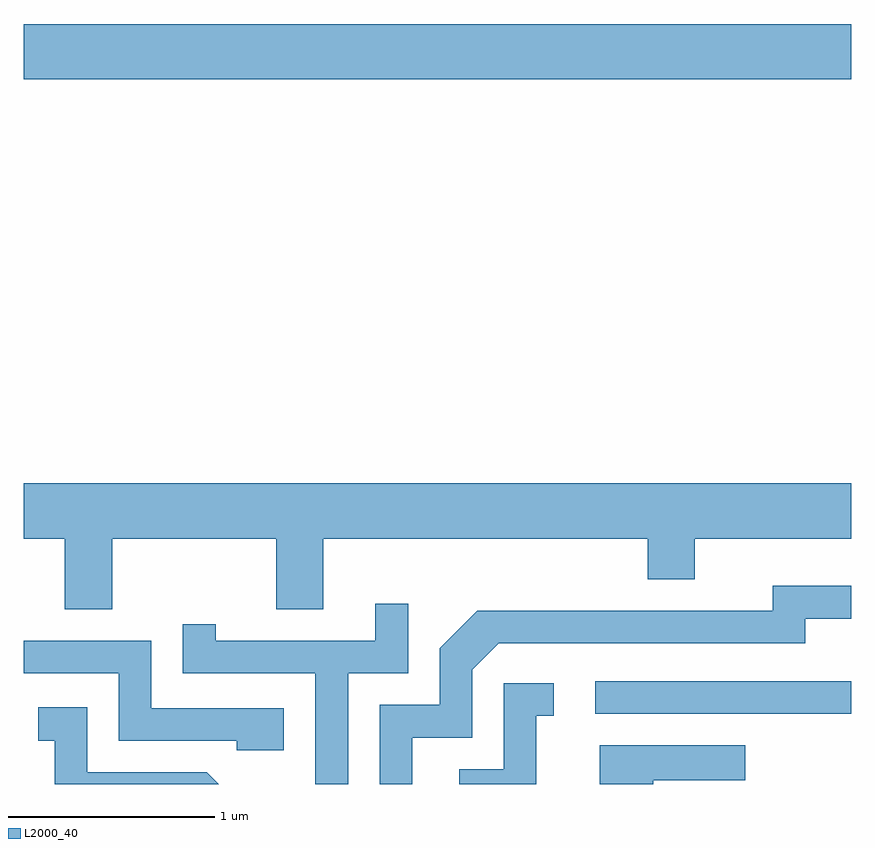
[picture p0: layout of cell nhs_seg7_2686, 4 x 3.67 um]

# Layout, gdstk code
import gdstk
lib = gdstk.Library(unit=1e-6, precision=1e-09)
def R(c, l, rs):  # rectangles x0, y0, x1, y1
    for r in rs: c.add(gdstk.rectangle(r[:2], r[2:], *l))
def P(c, l, *ps):  # polygons
    for p in ps: c.add(gdstk.Polygon(p, *l))
L2000_40 = (2000, 40)

nhs_seg7_2686 = lib.new_cell('nhs_seg7_2686')
R(nhs_seg7_2686, L2000_40, [(270.373,1704.591,271.611,1704.749), (267.611,1707.656,271.611,1707.924)])
P(nhs_seg7_2686, L2000_40, [(268.039,1705.436),(268.831,1705.436),(268.831,1705.096),(269.059,1705.096),(269.059,1705.436),(270.626,1705.436),(270.626,1705.241),(270.854,1705.241),(270.854,1705.436),(271.611,1705.436),(271.611,1705.704),(267.611,1705.704),(267.611,1705.436),(267.811,1705.436),(267.811,1705.096),(268.039,1705.096)],
  [(269.489,1704.476),(269.779,1704.476),(269.779,1704.804),(269.907,1704.931),(271.389,1704.931),(271.389,1705.051),(271.611,1705.051),(271.611,1705.209),(271.231,1705.209),(271.231,1705.089),(269.804,1705.089),(269.621,1704.907),(269.621,1704.634),(269.331,1704.634),(269.331,1704.252),(269.489,1704.252)],
  [(269.179,1704.786),(269.469,1704.786),(269.469,1705.123),(269.311,1705.123),(269.311,1704.944),(268.539,1704.944),(268.539,1705.023),(268.381,1705.023),(268.381,1704.786),(269.021,1704.786),(269.021,1704.252),(269.179,1704.252)],
  [(268.869,1704.619),(268.229,1704.619),(268.229,1704.944),(267.611,1704.944),(267.611,1704.786),(268.071,1704.786),(268.071,1704.461),(268.641,1704.461),(268.641,1704.416),(268.869,1704.416)],
  [(270.089,1704.581),(270.173,1704.581),(270.173,1704.739),(269.931,1704.739),(269.931,1704.324),(269.716,1704.324),(269.716,1704.252),(270.089,1704.252)],
  [(268.497,1704.309),(267.919,1704.309),(267.919,1704.624),(267.683,1704.624),(267.683,1704.461),(267.761,1704.461),(267.761,1704.252),(268.554,1704.252)],
  [(270.654,1704.271),(271.098,1704.271),(271.098,1704.439),(270.396,1704.439),(270.396,1704.252),(270.654,1704.252)])

lib.write_gds('nhs_seg7_2686.gds')
